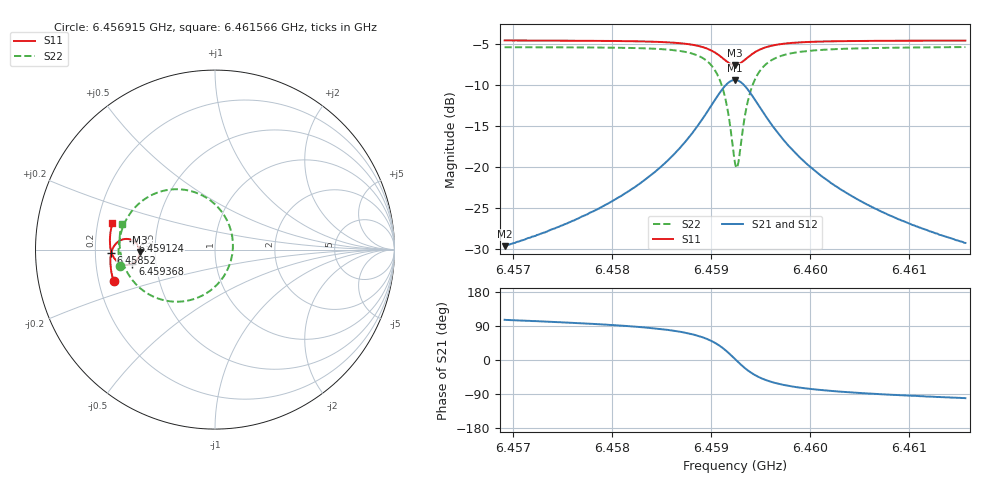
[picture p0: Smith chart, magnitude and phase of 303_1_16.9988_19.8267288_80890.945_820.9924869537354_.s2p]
#  HZ  S  RI  R  50.00
! Rohde & Schwarz Vector Network Analyzer
! Rohde-Schwarz,ZNB20-2Port,1311601062101988,3.16
! Created: UTC 3/20/2024, 11:05:41 PM
! freq[Hz]  re:S11  im:S11  re:S21  im:S21  re:S12  im:S12  re:S22  im:S22
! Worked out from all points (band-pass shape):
!   401 points, 6.456915 GHz to 6.461566 GHz, reference 50 ohm
!   highest |S21| = -9.35 dB at 6.45924 GHz (marker M1); lowest = -29.6 dB at 6.456915 GHz (marker M2)
!   |S21| within 3 dB of the highest: 6.459008 GHz to 6.459473 GHz (465.2 kHz wide, 0.0072 % of centre)
!   lowest |S11| = -7.5 dB at 6.45924 GHz (marker M3), VSWR 2.45, Z = 20.4 - j0.624 ohm
!   |S11| at or under -10 dB: nowhere
!   |S22| runs from -20.0 to -5.4 dB; largest |S21 - S12| = 0.013
!   S11 on the Smith chart (normalised r, x): 6.456915 GHz: 0.26, -0.14; 6.45852 GHz: 0.27, -0.02; 6.459124 GHz: 0.37, +0.05; 6.459368 GHz: 0.37, -0.07; 6.461566 GHz: 0.26, +0.12
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6.4569148e9  -0.565 -0.1772  -0.00921 0.0318  -0.00729 0.0319  -0.531 -0.0888
6.4576939e9  -0.5798 -0.1094  -0.00595 0.0498  -0.00336 0.0491  -0.5371 0.00116
6.4581009e9  -0.583 -0.069  -0.000675 0.0675  0.00261 0.0663  -0.5305 0.064
6.458473e9  -0.5796 -0.0251  0.0134 0.0974  0.0174 0.0948  -0.5051 0.1453
6.4585195e9  -0.5783 -0.0187  0.0167 0.1029  0.0208 0.0999  -0.4988 0.1584
6.4587288e9  -0.5663 0.013  0.0425 0.1344  0.0466 0.1296  -0.4509 0.2293
6.45888e9  -0.5453 0.0396  0.0845 0.1644  0.0879 0.158  -0.3736 0.2928
6.4590312e9  -0.4995 0.0592  0.1752 0.1835  0.1764 0.176  -0.2086 0.3364
6.4591242e9  -0.4552 0.0495  0.2641 0.1528  0.2644 0.1469  -0.0451 0.2873
6.4591707e9  -0.4343 0.0309  0.3073 0.1108  0.3084 0.1053  0.0362 0.2124
6.4592405e9  -0.4194 -0.0126  0.3403 0.0152  0.3436 0.00824  0.0998 0.0364
6.4592521e9  -0.4198 -0.0207  0.3401 -0.00216  0.3437 -0.00992  0.0994 0.00352
6.4592753e9  -0.4232 -0.0361  0.3347 -0.0364  0.3383 -0.0455  0.0887 -0.0609
6.4593335e9  -0.4437 -0.0668  0.2972 -0.1075  0.2984 -0.1196  0.0132 -0.1936
6.4593684e9  -0.4603 -0.0779  0.2655 -0.1362  0.2646 -0.149  -0.0505 -0.245
6.4594614e9  -0.5033 -0.0849  0.1822 -0.1672  0.176 -0.1784  -0.2157 -0.2904
6.4596126e9  -0.5468 -0.0645  0.0955 -0.1539  0.0872 -0.1599  -0.3797 -0.2423
6.4597754e9  -0.5682 -0.0371  0.0512 -0.1265  0.0438 -0.1294  -0.4587 -0.1719
6.4600196e9  -0.581 -0.0014  0.0224 -0.0957  0.0166 -0.0962  -0.5061 -0.0906
6.4603684e9  -0.5857 0.0397  0.00657 -0.0693  0.00249 -0.0689  -0.5274 -0.0125
6.4607986e9  -0.5838 0.0827  -0.00133 -0.0511  -0.00405 -0.0503  -0.5316 0.0552
6.4615661e9  -0.5716 0.1505  -0.00644 -0.034  -0.00801 -0.0332  -0.5201 0.1447
